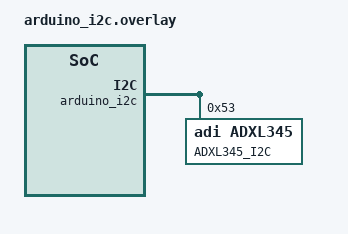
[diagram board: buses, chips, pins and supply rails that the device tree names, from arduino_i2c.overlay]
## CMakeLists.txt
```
# Copyright (c) 2022 TOKITA Hiroshi <tokita.hiroshi@fujitsu.com>
# SPDX-License-Identifier: Apache-2.0

cmake_minimum_required(VERSION 3.20.0)
find_package(Zephyr REQUIRED HINTS $ENV{ZEPHYR_BASE})
project(adxl345)

FILE(GLOB app_sources src/*.c)
target_sources(app PRIVATE ${app_sources})
```

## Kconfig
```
# Copyright (c) 2022 TOKITA Hiroshi <tokita.hiroshi@fujitsu.com>
# SPDX-License-Identifier: Apache-2.0

# Workaround for not being able to have commas in macro arguments
DT_COMPAT_ADI_ADXL345 := adi,adxl345

config SPI
	default $(dt_compat_on_bus,$(DT_COMPAT_ADI_ADXL345),spi)

config I2C
	default $(dt_compat_on_bus,$(DT_COMPAT_ADI_ADXL345),i2c)

source "Kconfig.zephyr"
```

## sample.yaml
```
sample:
  name: ADXL345 Sensor sample
tests:
  sample.sensor.adxl345.i2c:
    harness: console
    tags: sensors
    depends_on: arduino_i2c
    filter: dt_compat_enabled("adi,adxl345")
    extra_args: DTC_OVERLAY_FILE="arduino_i2c.overlay"
    harness_config:
      type: one_line
      regex:
        - "accel x:[-.0-9]* y:[-.0-9]* z:[-.0-9]* \\(m/s\\^2\\)"
  sample.sensor.adxl345.spi:
    harness: console
    tags: sensors
    depends_on: arduino_spi
    filter: dt_compat_enabled("adi,adxl345")
    extra_args: DTC_OVERLAY_FILE="arduino_spi.overlay"
    harness_config:
      type: one_line
      regex:
        - "accel x:[-.0-9]* y:[-.0-9]* z:[-.0-9]* \\(m/s\\^2\\)"
```

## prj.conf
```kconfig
CONFIG_SENSOR=y
CONFIG_ADXL345=y
```

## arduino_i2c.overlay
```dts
/*
 * Copyright (c) 2022, TOKITA Hiroshi <tokita.hiroshi@fujitsu.com>
 *
 * SPDX-License-Identifier: Apache-2.0
 */

/*
 * Example configuration of a ADXL345 device on an Arduino I2C bus.
 *
 * Device address 0x53 is assumed. Your device may have a different
 * address; check your device documentation if unsure.
 */
&arduino_i2c {
	status = "okay";
	adxl345@53 {
		compatible = "adi,adxl345";
		reg = <0x53>;
		label = "ADXL345_I2C";
	};
};
```

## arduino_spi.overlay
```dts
/*
 * Copyright (c) 2022, TOKITA Hiroshi <tokita.hiroshi@fujtisu.com>
 *
 * SPDX-License-Identifier: Apache-2.0
 */

&arduino_spi {
        adxl345@0 {
                compatible = "adi,adxl345";
                spi-max-frequency = <1000000>;
                reg = <0>;
                label = "ADXL345_SPI";
        };
};
```

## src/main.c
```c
/*
 * Copyright (c) 2022 TOKITA Hiroshi <tokita.hiroshi@fujitsu.com
 *
 * SPDX-License-Identifier: Apache-2.0
 */

#include <zephyr.h>
#include <device.h>
#include <drivers/sensor.h>

void main(void)
{
	struct sensor_value accel[3];

	const struct device *dev = DEVICE_DT_GET_ANY(adi_adxl345);

	if (dev == NULL) {
		printk("device_get_binding() failed");
		return;
	}

	while (true) {
		int ret;
		static const enum sensor_channel channels[] = {
			SENSOR_CHAN_ACCEL_X,
			SENSOR_CHAN_ACCEL_Y,
			SENSOR_CHAN_ACCEL_Z,
		};

		ret = sensor_sample_fetch(dev);
		if (ret < 0) {
			printk("sensor_Sample_fetch() failed: %d\n", ret);
			return;
		}

		for (size_t i = 0; i < ARRAY_SIZE(channels); i++) {
			ret = sensor_channel_get(dev, channels[i], &accel[i]);
			if (ret < 0) {
				printk("sensor_channel_get(%d) failed: %d\n", channels[i], ret);
				return;
			}
		}

		printk("accel x:%d.%06d y:%d.%06d z:%d.%06d (m/s^2)\n",
		       accel[0].val1, accel[0].val2,
		       accel[1].val1, accel[1].val2,
		       accel[2].val1, accel[2].val2);

		k_sleep(K_MSEC(1000));
	}
}
```
